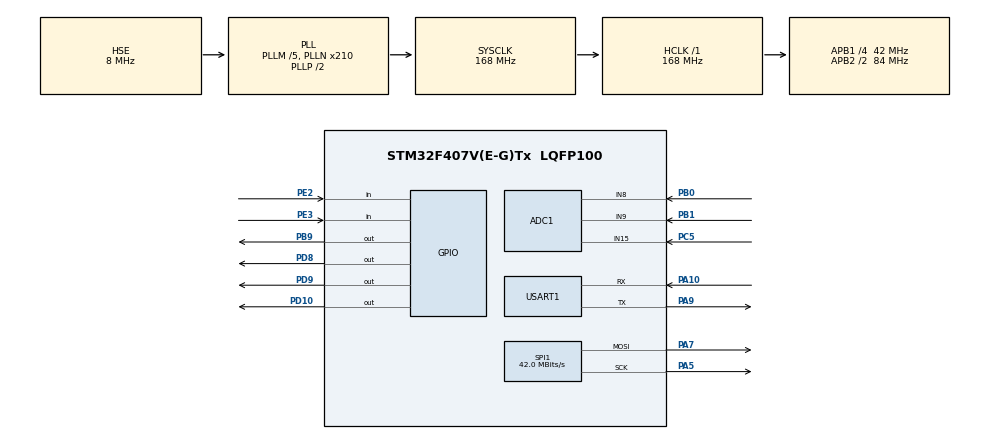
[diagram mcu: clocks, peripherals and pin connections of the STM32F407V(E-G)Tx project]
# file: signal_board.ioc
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ADC1.Channel-0\#ChannelRegularConversion=ADC_CHANNEL_8
ADC1.Channel-5\#ChannelRegularConversion=ADC_CHANNEL_9
ADC1.Channel-6\#ChannelRegularConversion=ADC_CHANNEL_15
ADC1.EOCSelection=EOC_SEQ_CONV
ADC1.ExternalTrigConv=ADC_EXTERNALTRIGCONV_T2_TRGO
ADC1.ExternalTrigConvEdge=ADC_EXTERNALTRIGCONVEDGE_RISING
ADC1.NbrOfConversion=3
ADC1.Rank-5\#ChannelRegularConversion=2
ADC1.Rank-6\#ChannelRegularConversion=3
ADC1.ScanConvMode=ENABLE
ADC1.master=1
Dma.ADC1.0.Channel=DMA_CHANNEL_0
Dma.ADC1.0.Direction=DMA_PERIPH_TO_MEMORY
Dma.ADC1.0.FIFOMode=DMA_FIFOMODE_DISABLE
Dma.ADC1.0.Instance=DMA2_Stream0
Dma.ADC1.0.MemDataAlignment=DMA_MDATAALIGN_HALFWORD
Dma.ADC1.0.MemInc=DMA_MINC_ENABLE
Dma.ADC1.0.Mode=DMA_NORMAL
Dma.ADC1.0.PeriphDataAlignment=DMA_PDATAALIGN_HALFWORD
Dma.ADC1.0.PeriphInc=DMA_PINC_DISABLE
Dma.ADC1.0.Priority=DMA_PRIORITY_MEDIUM
Dma.Request0=ADC1
Dma.Request1=USART1_TX
Dma.USART1_TX.1.Channel=DMA_CHANNEL_4
Dma.USART1_TX.1.Direction=DMA_MEMORY_TO_PERIPH
Dma.USART1_TX.1.FIFOMode=DMA_FIFOMODE_DISABLE
Dma.USART1_TX.1.Instance=DMA2_Stream7
Dma.USART1_TX.1.MemDataAlignment=DMA_MDATAALIGN_BYTE
Dma.USART1_TX.1.MemInc=DMA_MINC_ENABLE
Dma.USART1_TX.1.Mode=DMA_NORMAL
Dma.USART1_TX.1.PeriphDataAlignment=DMA_PDATAALIGN_BYTE
Dma.USART1_TX.1.PeriphInc=DMA_PINC_DISABLE
Dma.USART1_TX.1.Priority=DMA_PRIORITY_LOW
FREERTOS.Tasks01=defaultTask,0,128,StartDefaultTask
Mcu.Family=STM32F4
Mcu.Name=STM32F407V(E-G)Tx
Mcu.Package=LQFP100
NVIC.DMA2_Stream0_IRQn=true\:5\:0\:false
NVIC.DMA2_Stream7_IRQn=true\:5\:0\:false
NVIC.PriorityGroup=NVIC_PRIORITYGROUP_4
PA10.Mode=Asynchronous
PA10.Signal=USART1_RX
PA13.Mode=Trace-Asynchronous_SW
PA13.Signal=SYS_JTMS-SWDIO
PA14.Mode=Trace-Asynchronous_SW
PA14.Signal=SYS_JTCK-SWCLK
PA5.Mode=TX_Only_Simplex_Unidirect_Master
PA5.Signal=SPI1_SCK
PA7.Mode=TX_Only_Simplex_Unidirect_Master
PA7.Signal=SPI1_MOSI
PA9.Mode=Asynchronous
PA9.Signal=USART1_TX
PB0.Signal=ADCx_IN8
PB1.Signal=ADCx_IN9
PB3.Mode=Trace-Asynchronous_SW
PB3.Signal=SYS_JTDO-SWO
PB9.Signal=GPIO_Output
PC5.Signal=ADCx_IN15
PD10.Signal=GPIO_Output
PD8.Signal=GPIO_Output
PD9.Signal=GPIO_Output
PE2.Signal=GPIO_Input
PE3.Signal=GPIO_Input
PH0-OSC_IN.Mode=HSE-External-Oscillator
PH0-OSC_IN.Signal=RCC_OSC_IN
PH1-OSC_OUT.Mode=HSE-External-Oscillator
PH1-OSC_OUT.Signal=RCC_OSC_OUT
ProjectManager.TargetToolchain=EWARM
RCC.48MHZClocksFreq_Value=84000000
RCC.AHBFreq_Value=168000000
RCC.APB1CLKDivider=RCC_HCLK_DIV4
RCC.APB1Freq_Value=42000000
RCC.APB1TimFreq_Value=84000000
RCC.APB2CLKDivider=RCC_HCLK_DIV2
RCC.APB2Freq_Value=84000000
RCC.APB2TimFreq_Value=168000000
RCC.CortexFreq_Value=21000000
RCC.HCLKFreq_Value=168000000
RCC.HSE_VALUE=8000000
RCC.HSI_VALUE=16000000
RCC.LSE_VALUE=32768
RCC.PLLN=210
RCC.PLLSource=RCC_PLLSOURCE_HSE
RCC.PLLSourceVirtual=RCC_PLLSOURCE_HSE
RCC.SYSCLKFreq_VALUE=168000000
RCC.SYSCLKSource=RCC_SYSCLKSOURCE_PLLCLK
RCC.VCOOutputFreq_Value=336000000
SH.ADCx_IN15.0=ADC1_IN15,IN15
SH.ADCx_IN8.0=ADC1_IN8,IN8
SH.ADCx_IN9.0=ADC1_IN9,IN9
SPI1.CalculateBaudRate=42.0 MBits/s
SPI1.Mode=SPI_MODE_MASTER
TIM2.Period=1000
TIM2.TIM_MasterOutputTrigger=TIM_TRGO_UPDATE
VP_FREERTOS_VS_ENABLE.Mode=Enabled
VP_TIM2_VS_ClockSourceINT.Mode=Internal

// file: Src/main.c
/**
  ******************************************************************************
  * File Name          : main.c
  * Date               : 13/06/2015 14:55:49
  * Description        : Main program body
  ******************************************************************************
  *
  * COPYRIGHT(c) 2015 STMicroelectronics
  *
  * Redistribution and use in source and binary forms, with or without modification,
  * are permitted provided that the following conditions are met:
  *   1. Redistributions of source code must retain the above copyright notice,
  *      this list of conditions and the following disclaimer.
  *   2. Redistributions in binary form must reproduce the above copyright notice,
  *      this list of conditions and the following disclaimer in the documentation
  *      and/or other materials provided with the distribution.
  *   3. Neither the name of STMicroelectronics nor the names of its contributors
  *      may be used to endorse or promote products derived from this software
  *      without specific prior written permission.
  *
  * THIS SOFTWARE IS PROVIDED BY THE COPYRIGHT HOLDERS AND CONTRIBUTORS "AS IS"
  * AND ANY EXPRESS OR IMPLIED WARRANTIES, INCLUDING, BUT NOT LIMITED TO, THE
  * IMPLIED WARRANTIES OF MERCHANTABILITY AND FITNESS FOR A PARTICULAR PURPOSE ARE
  * DISCLAIMED. IN NO EVENT SHALL THE COPYRIGHT HOLDER OR CONTRIBUTORS BE LIABLE
  * FOR ANY DIRECT, INDIRECT, INCIDENTAL, SPECIAL, EXEMPLARY, OR CONSEQUENTIAL
  * DAMAGES (INCLUDING, BUT NOT LIMITED TO, PROCUREMENT OF SUBSTITUTE GOODS OR
  * SERVICES; LOSS OF USE, DATA, OR PROFITS; OR BUSINESS INTERRUPTION) HOWEVER
  * CAUSED AND ON ANY THEORY OF LIABILITY, WHETHER IN CONTRACT, STRICT LIABILITY,
  * OR TORT (INCLUDING NEGLIGENCE OR OTHERWISE) ARISING IN ANY WAY OUT OF THE USE
  * OF THIS SOFTWARE, EVEN IF ADVISED OF THE POSSIBILITY OF SUCH DAMAGE.
  *
  ******************************************************************************
  */

#include "stm32f4xx_hal.h"

/* USER CODE BEGIN Includes */
#include <string.h>
#include <FreeRTOS.h>
#include <task.h>
#include <queue.h>
#include <semphr.h>
#include <arm_math.h>
/* USER CODE END Includes */

ADC_HandleTypeDef hadc1;
DMA_HandleTypeDef hdma_adc1;

SPI_HandleTypeDef hspi1;

TIM_HandleTypeDef htim2;

UART_HandleTypeDef huart1;
DMA_HandleTypeDef hdma_usart1_tx;

/* USER CODE BEGIN PV */
#define NUM_ELEMENTS(x) (sizeof(x)/sizeof(x[0]))
#define NUM_ADC_CHANNELS 3
#define ADC_SAMPLES_PER_FRAME 100
#define ADC_DATA_BUFFER_SIZE (NUM_ADC_CHANNELS * ADC_SAMPLES_PER_FRAME * 2)
static uint16_t adc_data[ADC_DATA_BUFFER_SIZE] __attribute__ ((aligned));

#define DP0 GPIO_PIN_8
#define DP1 GPIO_PIN_9
#define DP2 GPIO_PIN_10
#define SELECT_DP(m) HAL_GPIO_WritePin(GPIOD, m, GPIO_PIN_RESET)
#define UNSELECT_DP() HAL_GPIO_WritePin(GPIOD, DP0|DP1|DP2, GPIO_PIN_SET)

// #define UART_TX_COMPLETE_EVT (1ul << 0)
#define START_BYTE  0xAB
#define STOP_BYTE  0xBA

#define STATUS_LED_TGL() HAL_GPIO_TogglePin(GPIOB, GPIO_PIN_9)
#define STATUS_LED_ON() HAL_GPIO_WritePin(GPIOB, GPIO_PIN_9, GPIO_PIN_SET);
#define STATUS_LED_OFF()  HAL_GPIO_WritePin(GPIOB, GPIO_PIN_9, GPIO_PIN_RESET);

typedef enum {
  EVENT_HANDSHAKE,
  EVENT_START,
  EVENT_STOP,
  MAX_EVENT
} extern_event_e;

typedef enum {
  KEY_START = 0,
  KEY_STOP,
  MAX_KEY
} hw_keys_e;

typedef struct {
  const GPIO_TypeDef* port;
  const uint16_t pin;
  BaseType_t was_released;
  uint32_t debounce_cnt;
} hw_key_s;

typedef struct __attribute__((packed))
{
  uint8_t gain;
} config_s;

#define DECIMATE_FACTOR 10

typedef struct __attribute__((packed))
{
  uint8_t channel;
  uint16_t data[ADC_SAMPLES_PER_FRAME/DECIMATE_FACTOR];
} data_s;

typedef enum {
  PACKET_HANDSHAKE = 0,
  PACKET_KEYCODE,
  PACKET_DATA,
  PACKET_START,
  PACKET_STOP,
  PACKET_MAX
} packet_type_e;

#define MAX_PACKET_DATA_SIZE  100

typedef struct __attribute__((packed))
{
  uint8_t type;
  uint8_t payload_size;
} packet_header_s;

typedef struct __attribute__((packed))
{
  union __attribute__((packed))
  {
    uint8_t data[MAX_PACKET_DATA_SIZE];
    config_s config;
    uint8_t keycode;
    data_s ch_data;
  };
} packet_payload_s;

typedef struct __attribute__((packed))
{
  packet_header_s h;
  packet_payload_s p;
} packet_s;

static TaskHandle_t xMainHandle = NULL;
static TaskHandle_t xKeybHandle = NULL;
static TaskHandle_t xUsartTXHandle = NULL;
static TaskHandle_t xUsartRXHandle = NULL;
static TaskHandle_t xDSPHandle = NULL;

static QueueHandle_t xUartTxQueue = NULL;
static QueueHandle_t xUartRxQueue = NULL;

struct config_entity_s {
  config_s config;
  SemaphoreHandle_t lock;
};

static struct config_entity_s global_cfg = {.lock = NULL};

static uint8_t uart_data;

// #define FILTER_TAP_NUM  32

static arm_fir_decimate_instance_q15 di[NUM_ADC_CHANNELS];

// static q15_t filter_taps[FILTER_TAP_NUM] = {1,1,1,1,1,1,1,1,1,1,1,1,1,1,1,1,1,1,1,1,1,1,1,1,1,1,1,1,1,1,1,1};

/*

FIR filter designed with
http://t-filter.appspot.com

sampling frequency: 1000 Hz

fixed point precision: 16 bits

* 0 Hz - 50 Hz
  gain = 1
  desired ripple = 5 dB
  actual ripple = n/a

* 60 Hz - 500 Hz
  gain = 0
  desired attenuation = -40 dB
  actual attenuation = n/a

*/

#define FILTER_TAP_NUM 103

static q15_t filter_taps[FILTER_TAP_NUM] = {
  372, 491, 411, 704, 700, 903, 900, 993, 933, 905, 760, 618, 401, 190,
  -51, -261, -454, -586, -664, -662, -591, -446, -247, -6, 248, 491, 693,
  831, 882, 834, 683, 436, 112, -262, -650, -1010, -1298, -1470, -1493,
  -1337, -988, -447, 273, 1139, 2110, 3130, 4139, 5074, 5874, 6488, 6873,
  7005, 6873, 6488, 5874, 5074, 4139, 3130, 2110, 1139, 273, -447, -988,
  -1337, -1493, -1470, -1298, -1010, -650, -262, 112, 436, 683, 834, 882,
  831, 693, 491, 248, -6, -247, -446, -591, -662, -664, -586, -454, -261,
  -51, 190, 401, 618, 760, 905, 933, 993, 900, 903, 700, 704, 411, 491, 372};

static q15_t fir0_state[FILTER_TAP_NUM + ADC_SAMPLES_PER_FRAME - 1];
static q15_t fir1_state[FILTER_TAP_NUM + ADC_SAMPLES_PER_FRAME - 1];
static q15_t fir2_state[FILTER_TAP_NUM + ADC_SAMPLES_PER_FRAME - 1];
static q15_t * firN_state[] = {fir0_state, fir1_state, fir2_state};
/* USER CODE END PV */

void SystemClock_Config(void);
static void MX_GPIO_Init(void);
static void MX_DMA_Init(void);
static void MX_ADC1_Init(void);
static void MX_SPI1_Init(void);
static void MX_TIM2_Init(void);
static void MX_USART1_UART_Init(void);

/* USER CODE BEGIN PFP */
static void DP_Set_Value(uint32_t mask, uint8_t val);
void vMainTask( void * pvParameters );
void vKeybTask( void * pvParameters );
void vUartTxTask( void * pvParameters );
void vUartRxTask( void * pvParameters );
void vDSPTask( void * pvParameters );
static BaseType_t send_packet(packet_type_e type, const void *payload, uint8_t payload_size);
static void init_filters(void);
static void start_acquire(void);
static void stop_acquire(void);
static void set_config(config_s *cfg);
static void apply_config(void);

/* USER CODE END PFP */

int main(void)
{

  /* MCU Configuration----------------------------------------------------------*/

  /* Reset of all peripherals, Initializes the Flash interface and the Systick. */
  HAL_Init();

  /* Configure the system clock */
  SystemClock_Config();

  /* Initialize all configured peripherals */
  MX_GPIO_Init();
  MX_DMA_Init();
  MX_ADC1_Init();
  MX_SPI1_Init();
  MX_TIM2_Init();
  MX_USART1_UART_Init();

  /* USER CODE BEGIN 2 */
  UNSELECT_DP();
  STATUS_LED_OFF();
  /* USER CODE END 2 */

  /* USER CODE BEGIN RTOS_MUTEX */
  /* add mutexes, ... */
  global_cfg.lock = xSemaphoreCreateMutex();
  configASSERT( global_cfg.lock );
  /* USER CODE END RTOS_MUTEX */

  /* Create the thread(s) */
  /* definition and creation of defaultTask */
  /* USER CODE BEGIN RTOS_THREADS */
  /* add threads, ... */

  xTaskCreate( vMainTask, "MAIN", configMINIMAL_STACK_SIZE*2, NULL, 1, &xMainHandle );
  configASSERT( xMainHandle );
  xTaskCreate( vKeybTask, "KEYB", configMINIMAL_STACK_SIZE*2, NULL, 2, &xKeybHandle );
  configASSERT( xKeybHandle );
  xTaskCreate( vUartTxTask, "UARTTX", configMINIMAL_STACK_SIZE*2, NULL, 2, &xUsartTXHandle );
  configASSERT( xUsartTXHandle );
  xTaskCreate( vUartRxTask, "UARTRX", configMINIMAL_STACK_SIZE*2, NULL, 3, &xUsartRXHandle );
  configASSERT( xUsartRXHandle );
  xTaskCreate( vDSPTask, "DSP", configMINIMAL_STACK_SIZE*2, NULL, 1, &xDSPHandle );
  configASSERT( xDSPHandle );

  /* USER CODE END RTOS_THREADS */

  /* USER CODE BEGIN RTOS_QUEUES */
  xUartTxQueue = xQueueCreate( 5, sizeof( packet_s * ) );
  configASSERT( xUartTxQueue );
  xUartRxQueue = xQueueCreate( 10, sizeof( uint8_t ) );
  configASSERT( xUartRxQueue );

  HAL_UART_Receive_IT(&huart1, &uart_data, 1);

  /* add queues, ... */
  /* USER CODE END RTOS_QUEUES */

  /* Start scheduler */
  vTaskStartScheduler();

  /* We should never get here as control is now taken by the scheduler */

  /* Infinite loop */
  while (1)
  {

  }

}

/** System Clock Configuration
*/
void SystemClock_Config(void)
{

  RCC_OscInitTypeDef RCC_OscInitStruct;
  RCC_ClkInitTypeDef RCC_ClkInitStruct;

  __PWR_CLK_ENABLE();

  __HAL_PWR_VOLTAGESCALING_CONFIG(PWR_REGULATOR_VOLTAGE_SCALE1);

  RCC_OscInitStruct.OscillatorType = RCC_OSCILLATORTYPE_HSE;
  RCC_OscInitStruct.HSEState = RCC_HSE_ON;
  RCC_OscInitStruct.PLL.PLLState = RCC_PLL_ON;
  RCC_OscInitStruct.PLL.PLLSource = RCC_PLLSOURCE_HSE;
  RCC_OscInitStruct.PLL.PLLM = 5;
  RCC_OscInitStruct.PLL.PLLN = 210;
  RCC_OscInitStruct.PLL.PLLP = RCC_PLLP_DIV2;
  RCC_OscInitStruct.PLL.PLLQ = 4;
  HAL_RCC_OscConfig(&RCC_OscInitStruct);

  RCC_ClkInitStruct.ClockType = RCC_CLOCKTYPE_SYSCLK|RCC_CLOCKTYPE_PCLK1
                              |RCC_CLOCKTYPE_PCLK2;
  RCC_ClkInitStruct.SYSCLKSource = RCC_SYSCLKSOURCE_PLLCLK;
  RCC_ClkInitStruct.AHBCLKDivider = RCC_SYSCLK_DIV1;
  RCC_ClkInitStruct.APB1CLKDivider = RCC_HCLK_DIV4;
  RCC_ClkInitStruct.APB2CLKDivider = RCC_HCLK_DIV2;
  HAL_RCC_ClockConfig(&RCC_ClkInitStruct, FLASH_LATENCY_5);

}

/* ADC1 init function */
void MX_ADC1_Init(void)
{

  ADC_ChannelConfTypeDef sConfig;

    /**Configure the global features of the ADC (Clock, Resolution, Data Alignment and number of conversion)
    */
  hadc1.Instance = ADC1;
  hadc1.Init.ClockPrescaler = ADC_CLOCKPRESCALER_PCLK_DIV6;   /* APB2 clock == 84 MHz (FCLK == 168) -/6-> 14 MHz */
  hadc1.Init.Resolution = ADC_RESOLUTION12b;
  hadc1.Init.ScanConvMode = ENABLE;
  hadc1.Init.ContinuousConvMode = DISABLE;
  hadc1.Init.DiscontinuousConvMode = DISABLE;
  hadc1.Init.ExternalTrigConvEdge = ADC_EXTERNALTRIGCONVEDGE_RISING;
  hadc1.Init.ExternalTrigConv = ADC_EXTERNALTRIGCONV_T2_TRGO;
  hadc1.Init.DataAlign = ADC_DATAALIGN_RIGHT;
  hadc1.Init.NbrOfConversion = 3;
  hadc1.Init.DMAContinuousRequests = ENABLE;
  hadc1.Init.EOCSelection = EOC_SINGLE_CONV;
  HAL_ADC_Init(&hadc1);

    /**Configure for the selected ADC regular channel its corresponding rank in the sequencer and its sample time.
    */
  sConfig.Channel = ADC_CHANNEL_9;
  sConfig.Rank = 2;
  sConfig.SamplingTime = ADC_SAMPLETIME_3CYCLES;
  HAL_ADC_ConfigChannel(&hadc1, &sConfig);

    /**Configure for the selected ADC regular channel its corresponding rank in the sequencer and its sample time.
    */
  sConfig.Channel = ADC_CHANNEL_8;
  sConfig.Rank = 1;
  HAL_ADC_ConfigChannel(&hadc1, &sConfig);

    /**Configure for the selected ADC regular channel its corresponding rank in the sequencer and its sample time.
    */
  sConfig.Channel = ADC_CHANNEL_15;
  sConfig.Rank = 3;
  HAL_ADC_ConfigChannel(&hadc1, &sConfig);

}

/* SPI1 init function */
void MX_SPI1_Init(void)
{

  hspi1.Instance = SPI1;
  hspi1.Init.Mode = SPI_MODE_MASTER;
  hspi1.Init.Direction = SPI_DIRECTION_2LINES;
  hspi1.Init.DataSize = SPI_DATASIZE_8BIT;
  hspi1.Init.CLKPolarity = SPI_POLARITY_LOW;
  hspi1.Init.CLKPhase = SPI_PHASE_1EDGE;
  hspi1.Init.NSS = SPI_NSS_SOFT;
  hspi1.Init.BaudRatePrescaler = SPI_BAUDRATEPRESCALER_32;
  hspi1.Init.FirstBit = SPI_FIRSTBIT_MSB;
  hspi1.Init.TIMode = SPI_TIMODE_DISABLED;
  hspi1.Init.CRCCalculation = SPI_CRCCALCULATION_DISABLED;
  HAL_SPI_Init(&hspi1);

}

/* TIM2 init function */
void MX_TIM2_Init(void)
{

  TIM_ClockConfigTypeDef sClockSourceConfig;
  TIM_MasterConfigTypeDef sMasterConfig;

  uint32_t uwPrescalerValue = (uint32_t) ((SystemCoreClock /2) / 100000) - 1;

  htim2.Instance = TIM2;
  htim2.Init.Prescaler = uwPrescalerValue;
  htim2.Init.CounterMode = TIM_COUNTERMODE_UP;
  htim2.Init.Period = 100 - 1;
  htim2.Init.ClockDivision = TIM_CLOCKDIVISION_DIV1;
  HAL_TIM_Base_Init(&htim2);

  sClockSourceConfig.ClockSource = TIM_CLOCKSOURCE_INTERNAL;
  HAL_TIM_ConfigClockSource(&htim2, &sClockSourceConfig);

  sMasterConfig.MasterOutputTrigger = TIM_TRGO_UPDATE;
  sMasterConfig.MasterSlaveMode = TIM_MASTERSLAVEMODE_DISABLE;
  HAL_TIMEx_MasterConfigSynchronization(&htim2, &sMasterConfig);

}

/* USART1 init function */
void MX_USART1_UART_Init(void)
{

  huart1.Instance = USART1;
  huart1.Init.BaudRate = 115200;
  huart1.Init.WordLength = UART_WORDLENGTH_8B;
  huart1.Init.StopBits = UART_STOPBITS_1;
  huart1.Init.Parity = UART_PARITY_NONE;
  huart1.Init.Mode = UART_MODE_TX_RX;
  huart1.Init.HwFlowCtl = UART_HWCONTROL_NONE;
  huart1.Init.OverSampling = UART_OVERSAMPLING_16;
  HAL_UART_Init(&huart1);

}

void MX_DMA_Init(void)
{
  /* DMA controller clock enable */
  __DMA2_CLK_ENABLE();

  /* DMA interrupt init */
  HAL_NVIC_SetPriority(DMA2_Stream0_IRQn, 5, 0);
  HAL_NVIC_EnableIRQ(DMA2_Stream0_IRQn);
  HAL_NVIC_SetPriority(DMA2_Stream7_IRQn, 5, 0);
  HAL_NVIC_EnableIRQ(DMA2_Stream7_IRQn);

}

/** Configure pins as
        * Analog
        * Input
        * Output
        * EVENT_OUT
        * EXTI
*/
void MX_GPIO_Init(void)
{

  GPIO_InitTypeDef GPIO_InitStruct;

  /* GPIO Ports Clock Enable */
  __GPIOE_CLK_ENABLE();
  __GPIOH_CLK_ENABLE();
  __GPIOA_CLK_ENABLE();
  __GPIOC_CLK_ENABLE();
  __GPIOB_CLK_ENABLE();
  __GPIOD_CLK_ENABLE();

  // /*Configure GPIO pins : PA0 */
  // GPIO_InitStruct.Pin = GPIO_PIN_0;
  // GPIO_InitStruct.Mode = GPIO_MODE_INPUT;
  // GPIO_InitStruct.Pull = GPIO_NOPULL;
  // HAL_GPIO_Init(GPIOA, &GPIO_InitStruct);

  /*Configure GPIO pins : PE2 PE3 */
  GPIO_InitStruct.Pin = GPIO_PIN_2|GPIO_PIN_3;
  GPIO_InitStruct.Mode = GPIO_MODE_INPUT;
  GPIO_InitStruct.Pull = GPIO_NOPULL;
  HAL_GPIO_Init(GPIOE, &GPIO_InitStruct);

  /*Configure GPIO pins : PD8 PD9 PD10 */
  GPIO_InitStruct.Pin = GPIO_PIN_8|GPIO_PIN_9|GPIO_PIN_10;
  // |GPIO_PIN_12;
  GPIO_InitStruct.Mode = GPIO_MODE_OUTPUT_PP;
  GPIO_InitStruct.Pull = GPIO_NOPULL;
  GPIO_InitStruct.Speed = GPIO_SPEED_LOW;
  HAL_GPIO_Init(GPIOD, &GPIO_InitStruct);

  /*Configure GPIO pin : PB9 */
  GPIO_InitStruct.Pin = GPIO_PIN_9;
  GPIO_InitStruct.Mode = GPIO_MODE_OUTPUT_PP;
  GPIO_InitStruct.Pull = GPIO_NOPULL;
  GPIO_InitStruct.Speed = GPIO_SPEED_LOW;
  HAL_GPIO_Init(GPIOB, &GPIO_InitStruct);

}

/* USER CODE BEGIN 4 */

static void start_acquire(void)
{
  init_filters();
  HAL_ADC_Start_DMA(&hadc1, (uint32_t*)adc_data, NUM_ELEMENTS(adc_data));
  HAL_TIM_Base_Start(&htim2);
}

static void stop_acquire(void)
{
  HAL_TIM_Base_Stop(&htim2);
  HAL_ADC_Stop_DMA(&hadc1);
}

static void DP_Set_Value(uint32_t mask, uint8_t val)
{
  SELECT_DP(mask);
  __attribute__((unused)) HAL_StatusTypeDef st = HAL_SPI_Transmit(&hspi1, &val, 1, 0x1000);
  UNSELECT_DP();
}

static BaseType_t send_packet(packet_type_e type, const void *payload, uint8_t payload_size)
{
  uint16_t size = sizeof(packet_header_s) + payload_size;
  packet_s *b = (packet_s *)pvPortMalloc(size);

  configASSERT( b );

  b->h.type = type;
  b->h.payload_size = payload_size;

  if(payload && payload_size)
    memcpy(b->p.data, payload, payload_size);

  return xQueueSend( xUartTxQueue, &b, ( TickType_t ) 0 );
}

void HAL_ADC_ConvCpltCallback(ADC_HandleTypeDef* hadc)
{
  xTaskNotifyFromISR(xDSPHandle, (uint32_t)(&adc_data[NUM_ELEMENTS(adc_data)/2]),
    eSetValueWithOverwrite, NULL);
  // HAL_GPIO_TogglePin(GPIOB, GPIO_PIN_9);
}

void HAL_ADC_ConvHalfCpltCallback(ADC_HandleTypeDef* hadc)
{
  xTaskNotifyFromISR(xDSPHandle, (uint32_t)(&adc_data[0]), eSetValueWithOverwrite,
    NULL);
}

void HAL_UART_TxCpltCallback(UART_HandleTypeDef *huart)
{
  vTaskNotifyGiveFromISR(xUsartTXHandle, NULL);
}

void HAL_UART_RxCpltCallback(UART_HandleTypeDef *huart)
{
  xQueueSendFromISR( xUartRxQueue, &uart_data, NULL);
  HAL_UART_Receive_IT(&huart1, &uart_data, 1);
}

static size_t unstuff_packet(packet_s *p, const uint8_t *s, size_t size)
{
  uint8_t *out = (uint8_t *)p;
  uint8_t *in = (uint8_t *)s + 1;

  if(size <= 2)
    return 0;

  int sz = size -= 2; // -(start + stop)

  for(; sz > 0; sz--, in++, out++)
  {
    *out = *in;
    if(*in == START_BYTE || *in == STOP_BYTE)
    {
      in++;
      if(*in !=  START_BYTE && *in != STOP_BYTE)
        return 0; // packet corrupted
      sz--;
    }
  }

  return (size_t)(out - (uint8_t *)p);
}

static void init_filters(void)
{
  int i;
  for(i = 0; i < NUM_ADC_CHANNELS; i++)
    arm_fir_decimate_init_q15(&di[i], FILTER_TAP_NUM, DECIMATE_FACTOR,
      filter_taps, firN_state[i], ADC_SAMPLES_PER_FRAME);
}

void vDSPTask( void * pvParameters )
{
  typedef struct __attribute__((packed))
  {
    uint16_t channel[NUM_ADC_CHANNELS];
  } adc_samples_s;
#define EXTRACT_CHANNEL_DATA(from, to, ch) do { int k; \
                                                adc_samples_s * samples = (adc_samples_s *)from; \
                                                for(k = 0; k < ADC_SAMPLES_PER_FRAME; k++) { \
                                                  to[k] = samples[k].channel[ch]; } \
                                              } while(0)

  for( ;; )
  {
    uint16_t *data __attribute__((aligned));
    xTaskNotifyWait( 0, -1, (uint32_t *)&data, portMAX_DELAY);
    STATUS_LED_TGL();
    int i;

    for(i = 0; i < NUM_ADC_CHANNELS; i++)
    {
      static uint16_t ch_data[ADC_SAMPLES_PER_FRAME];
      static uint16_t dec_data[ADC_SAMPLES_PER_FRAME/DECIMATE_FACTOR];
      static data_s packet_data;

      // HAL_GPIO_WritePin(GPIOB, GPIO_PIN_9, GPIO_PIN_SET);

      EXTRACT_CHANNEL_DATA(data, ch_data, i);
      arm_fir_decimate_fast_q15(&di[i], (q15_t *)ch_data, (q15_t *)dec_data, ADC_SAMPLES_PER_FRAME);

      memcpy(packet_data.data, dec_data, sizeof(dec_data));
      packet_data.channel = i;
      send_packet(PACKET_DATA, &packet_data, sizeof(packet_data));
      taskYIELD();

    }
  }
}

static void process_packet(const uint8_t *p, size_t size)
{
  static packet_s packet;
  size_t sz = unstuff_packet(&packet, p, size);

  if(sz)
  {
    switch(packet.h.type)
    {
    case PACKET_HANDSHAKE:
    {
      config_s cfg = {.gain = packet.p.config.gain};
      set_config(&cfg);
      xTaskNotify(xMainHandle, EVENT_HANDSHAKE, eSetValueWithOverwrite);
    }
    break;
    case PACKET_START:
      xTaskNotify(xMainHandle, EVENT_START, eSetValueWithOverwrite);
    break;
    case PACKET_STOP:
      xTaskNotify(xMainHandle, EVENT_STOP, eSetValueWithOverwrite);
    break;
    default:
    ;
    }
  }
}

void vUartRxTask( void * pvParameters )
{
  enum reciever_state_e {
    WAIT_FOR_START_SYNC,
    PREVIOUS_WAS_START,
    PREVIOUS_WAS_TRIVIAL,
    PREVIOUS_WAS_STOP,
    MAX_STATE
  } state = WAIT_FOR_START_SYNC;
  size_t packet_len = 0;
  static uint8_t rx_buffer[(MAX_PACKET_DATA_SIZE + sizeof(packet_header_s))*2+2];

#define RESET_RX_MACHINE  do {state = WAIT_FOR_START_SYNC; packet_len = 0;} while(0)

  for( ;; )
  {
    uint8_t data;
    BaseType_t status = xQueueReceive(xUartRxQueue, &data, pdMS_TO_TICKS(10));

    switch(state)
    {
    case WAIT_FOR_START_SYNC:
      if(status == pdTRUE && data == START_BYTE)
      {
        rx_buffer[packet_len++] = data;
        state = PREVIOUS_WAS_TRIVIAL;
      }
      break;

    case PREVIOUS_WAS_START:
      if(status == pdTRUE)
      {
        rx_buffer[packet_len++] = data;
        if(data == STOP_BYTE)
          state = PREVIOUS_WAS_STOP;
        else  // start || trivial
          state = PREVIOUS_WAS_TRIVIAL;
      } else {
        RESET_RX_MACHINE;
      }
      break;

    case PREVIOUS_WAS_TRIVIAL:
      if(status == pdTRUE)
      {
        rx_buffer[packet_len++] = data;
        if(data == START_BYTE)
          state = PREVIOUS_WAS_START;
        else if(data == STOP_BYTE)
          state = PREVIOUS_WAS_STOP;
        else
          state = PREVIOUS_WAS_TRIVIAL;
      } else {
        RESET_RX_MACHINE;
      }
      break;

    case PREVIOUS_WAS_STOP:
      if(status == pdTRUE)
      {
        if(data != STOP_BYTE)
        {
          process_packet(rx_buffer, packet_len);
          RESET_RX_MACHINE;
          if(data == START_BYTE)
          {
            rx_buffer[packet_len++] = data;
            state = PREVIOUS_WAS_TRIVIAL;
          }
        } else {
          rx_buffer[packet_len++] = data;
          state = PREVIOUS_WAS_TRIVIAL;
        }
      } else {
        process_packet(rx_buffer, packet_len);
        RESET_RX_MACHINE;
      }
      break;
    default:
      ;
    }

  }
}

static size_t stuff_packet(const packet_s *p, uint8_t *s, size_t size)
{
  uint8_t *in = (uint8_t *)p;
  uint8_t *out = s;

  *out++ = START_BYTE;
  for(; size; size--, in++, out++)
  {
    *out = *in;
    if(*in == START_BYTE)
      *++out = START_BYTE;
    else if(*in == STOP_BYTE)
      *++out = STOP_BYTE;
  }
  *out++ = STOP_BYTE;

  return (size_t)(out - s);
}

void vUartTxTask( void * pvParameters )
{
  for( ;; )
  {
    packet_s * p_packet = NULL;
    xQueueReceive(xUartTxQueue, &p_packet, portMAX_DELAY);
    if(p_packet)
    {
      uint8_t packet_size = sizeof(packet_header_s) + p_packet->h.payload_size;
      uint8_t *b = (uint8_t *)pvPortMalloc((packet_size)*2 + 2);
      configASSERT( b );
      size_t tx_size = stuff_packet(p_packet, b, packet_size);
      vPortFree(p_packet);
      HAL_StatusTypeDef st __attribute__((unused)) =
        HAL_UART_Transmit_DMA(&huart1, b, tx_size);
      ulTaskNotifyTake(pdTRUE, portMAX_DELAY);
      vPortFree(b);
    }
  }
}

static void set_config(config_s *cfg)
{
  xSemaphoreTake(global_cfg.lock, portMAX_DELAY);
  global_cfg.config = *cfg;
  xSemaphoreGive(global_cfg.lock);
}

static void apply_config(void)
{
  xSemaphoreTake(global_cfg.lock, portMAX_DELAY);
  DP_Set_Value(DP0|DP1|DP2, global_cfg.config.gain);
  xSemaphoreGive(global_cfg.lock);
}

void vMainTask( void * pvParameters )
{
  enum {
    STATE_WAIT_HANDSHAKE = 0,
    STATE_STOP,
    STATE_RUN,
    STATE_MAX
  } state = STATE_WAIT_HANDSHAKE;

  for( ;; )
  {
    uint32_t event = 0;

    xTaskNotifyWait( 0, -1, &event, portMAX_DELAY);

    switch(state)
    {
    case STATE_WAIT_HANDSHAKE:
      if(event == EVENT_HANDSHAKE)
      {
        apply_config();
        STATUS_LED_ON();
        send_packet(PACKET_HANDSHAKE, NULL, 0);
        state = STATE_STOP;
      }
      break;
    case STATE_STOP:
      if(event == EVENT_START)
      {
        start_acquire();
        state = STATE_RUN;
      }
      break;
    case STATE_RUN:
      if(event == EVENT_STOP)
      {
        stop_acquire();
        vTaskDelay(pdMS_TO_TICKS(10));
        STATUS_LED_ON();
        state = STATE_STOP;
      }
      break;
    default:
      ;
    }
  }
}

void vKeybTask( void * pvParameters )
{
#define KEY_STATE(k) HAL_GPIO_ReadPin((GPIO_TypeDef* )k.port, k.pin)

  static hw_key_s keys[MAX_KEY] = {
                                   // {GPIOA, GPIO_PIN_0, pdFALSE, 0},
                                    {GPIOE, GPIO_PIN_2, pdFALSE, 0},
                                    {GPIOE, GPIO_PIN_4, pdFALSE, 0}
                                  };
  for( ;; )
  {
    int i;
    for(i = 0; i < MAX_KEY; i++)
    {
      GPIO_PinState state = KEY_STATE(keys[i]);
      switch(state)
      {
        case GPIO_PIN_SET:
          keys[i].debounce_cnt = 0;
          keys[i].was_released = pdTRUE;
          break;
        case GPIO_PIN_RESET:
          if(keys[i].was_released && ++keys[i].debounce_cnt > 5)
          {
            uint8_t keycode = (1 << i);
            keys[i].was_released = pdFALSE;
            send_packet(PACKET_KEYCODE, &keycode, sizeof(keycode));
          }
          break;
      }
    }

    vTaskDelay(pdMS_TO_TICKS(10));
  }
}

/* USER CODE END 4 */

/************************ (C) COPYRIGHT STMicroelectronics *****END OF FILE****/
